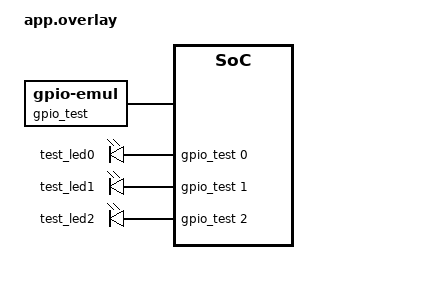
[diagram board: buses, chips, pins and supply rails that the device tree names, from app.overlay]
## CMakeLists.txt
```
cmake_minimum_required(VERSION 3.28.0)

# usa o mesmo Kconfig da aplicacao (BLINK_*_MS)
set(KCONFIG_ROOT ${CMAKE_CURRENT_SOURCE_DIR}/../../Kconfig)

find_package(Zephyr REQUIRED HINTS $ENV{ZEPHYR_BASE})
project(led_unit)

target_sources(app PRIVATE
	src/main.c
	../../src/led.c
)

target_include_directories(app PRIVATE ../../src)
```

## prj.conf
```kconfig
CONFIG_ZTEST=y
CONFIG_GPIO=y
CONFIG_GPIO_EMUL=y
CONFIG_LOG=y

# periodos curtos para o teste rodar rapido
CONFIG_BLINK_SLOW_MS=200
CONFIG_BLINK_NORMAL_MS=80
CONFIG_BLINK_FAST_MS=20
```

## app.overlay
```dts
/* Controlador GPIO emulado proprio do teste, com init adiado para testar o
 * caso de controlador nao pronto. Os LEDs ficam nele e os aliases apontam
 * para eles. */

#include <zephyr/dt-bindings/gpio/gpio.h>

/ {
	gpio_test: gpio_test {
		compatible = "zephyr,gpio-emul";
		gpio-controller;
		#gpio-cells = <2>;
		ngpios = <3>;
		zephyr,deferred-init;
		status = "okay";
	};

	test_leds {
		compatible = "gpio-leds";

		test_led0: test_led_0 {
			gpios = <&gpio_test 0 GPIO_ACTIVE_HIGH>;
		};

		test_led1: test_led_1 {
			gpios = <&gpio_test 1 GPIO_ACTIVE_HIGH>;
		};

		test_led2: test_led_2 {
			gpios = <&gpio_test 2 GPIO_ACTIVE_HIGH>;
		};
	};

	aliases {
		led0 = &test_led0;
		led1 = &test_led1;
		led2 = &test_led2;
	};
};
```

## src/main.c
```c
/*******************************************************************
 * @file main.c
 *
 * @brief Testes do modulo de LEDs.
 * @author Erick Mascarenhas (edlm@ic.ufal.br)
 * @version 0.1
 * @date 21/10/2026
 *******************************************************************/

#include <errno.h>
#include <stdbool.h>

#include <zephyr/device.h>
#include <zephyr/drivers/gpio.h>
#include <zephyr/drivers/gpio/gpio_emul.h>
#include <zephyr/kernel.h>
#include <zephyr/ztest.h>

#include "led.h"

static const struct gpio_dt_spec spec[] = {
	GPIO_DT_SPEC_GET(DT_ALIAS(led0), gpios),
	GPIO_DT_SPEC_GET(DT_ALIAS(led1), gpios),
	GPIO_DT_SPEC_GET(DT_ALIAS(led2), gpios),
};

static const struct device *const ctrl = DEVICE_DT_GET(DT_NODELABEL(gpio_test));

/* nivel do pino lido no controlador emulado */
static int level(size_t led)
{
	return gpio_emul_output_get(spec[led].port, spec[led].pin);
}

/* true se o LED foi visto aceso e apagado dentro da janela */
static bool seen_on_and_off(size_t led, int64_t window_ms)
{
	int64_t end = k_uptime_get() + window_ms;
	bool on = false;
	bool off = false;

	while ((k_uptime_get() < end) && !(on && off)) {
		k_msleep(1);
		if (level(led) == 1) {
			on = true;
		} else {
			off = true;
		}
	}

	return on && off;
}

/* conta as trocas de nivel do led0 e do led1 dentro da janela */
static void count_transitions(int64_t window_ms, int *fast, int *slow)
{
	int64_t end = k_uptime_get() + window_ms;
	int prev0 = level(0);
	int prev1 = level(1);

	*fast = 0;
	*slow = 0;

	while (k_uptime_get() < end) {
		int now0;
		int now1;

		k_msleep(1);
		now0 = level(0);
		now1 = level(1);

		if (now0 != prev0) {
			(*fast)++;
			prev0 = now0;
		}

		if (now1 != prev1) {
			(*slow)++;
			prev1 = now1;
		}
	}
}

static void before_each(void *fixture)
{
	ARG_UNUSED(fixture);

	/* o teste 00 precisa do controlador ainda sem init */
	if (!device_is_ready(ctrl)) {
		return;
	}

	zassert_ok(led_init());
}

ZTEST_SUITE(led_mod, NULL, NULL, before_each, NULL, NULL);

ZTEST(led_mod, test_00_init_falha_com_controlador_nao_pronto)
{
	if (device_is_ready(ctrl)) {
		ztest_test_skip();
	}

	zassert_equal(led_init(), -ENODEV);

	zassert_equal(led_on(0U), -ENODEV);

	zassert_ok(device_init(ctrl));
	zassert_true(device_is_ready(ctrl));
}

ZTEST(led_mod, test_01_init_deixa_todos_apagados)
{
	size_t i;

	zassert_equal(led_count(), ARRAY_SIZE(spec));

	for (i = 0U; i < led_count(); i++) {
		zassert_equal(level(i), 0, "LED %zu nao comecou apagado", i);
	}
}

ZTEST(led_mod, test_02_ligar_desligar_e_alternar_mudam_o_pino)
{
	zassert_ok(led_on(0U));
	zassert_equal(level(0), 1);

	zassert_ok(led_off(0U));
	zassert_equal(level(0), 0);

	zassert_ok(led_toggle(0U));
	zassert_equal(level(0), 1);

	zassert_ok(led_toggle(0U));
	zassert_equal(level(0), 0);
}

ZTEST(led_mod, test_03_piscar_acende_e_apaga)
{
	zassert_ok(led_blink(0U, LED_PATTERN_FAST));
	zassert_true(seen_on_and_off(0U, CONFIG_BLINK_FAST_MS * 6), "nao piscou");
}

ZTEST(led_mod, test_04_rapido_troca_mais_que_lento)
{
	int fast;
	int slow;

	zassert_ok(led_blink(0U, LED_PATTERN_FAST));
	zassert_ok(led_blink(1U, LED_PATTERN_SLOW));

	count_transitions(CONFIG_BLINK_SLOW_MS * 3, &fast, &slow);

	zassert_true(slow > 0, "o lento nem trocou");
	zassert_true(fast > slow, "rapido=%d lento=%d", fast, slow);
}

ZTEST(led_mod, test_05_ligar_desligar_e_alternar_cancelam_o_pisca)
{
	zassert_ok(led_blink(0U, LED_PATTERN_FAST));
	zassert_ok(led_on(0U));
	k_msleep(CONFIG_BLINK_FAST_MS * 5);
	zassert_equal(level(0), 1, "led_on nao cancelou o pisca");

	zassert_ok(led_blink(0U, LED_PATTERN_FAST));
	zassert_ok(led_off(0U));
	k_msleep(CONFIG_BLINK_FAST_MS * 5);
	zassert_equal(level(0), 0, "led_off nao cancelou o pisca");

	zassert_ok(led_blink(0U, LED_PATTERN_FAST));
	zassert_ok(led_toggle(0U));
	{
		int fixed = level(0);

		k_msleep(CONFIG_BLINK_FAST_MS * 5);
		zassert_equal(level(0), fixed, "led_toggle nao cancelou o pisca");
	}
}

ZTEST(led_mod, test_06_acao_em_todos_afeta_todos)
{
	size_t i;

	zassert_ok(led_on(LED_ALL));
	for (i = 0U; i < led_count(); i++) {
		zassert_equal(level(i), 1, "LED %zu nao acendeu", i);
	}

	zassert_ok(led_off(LED_ALL));
	for (i = 0U; i < led_count(); i++) {
		zassert_equal(level(i), 0, "LED %zu nao apagou", i);
	}

	zassert_ok(led_blink(LED_ALL, LED_PATTERN_FAST));
	for (i = 0U; i < led_count(); i++) {
		zassert_true(seen_on_and_off(i, CONFIG_BLINK_FAST_MS * 6), "LED %zu nao piscou", i);
	}
}

ZTEST(led_mod, test_07_argumentos_invalidos_retornam_erro)
{
	zassert_equal(led_on(led_count()), -EINVAL);
	zassert_equal(led_off(led_count()), -EINVAL);
	zassert_equal(led_toggle(led_count()), -EINVAL);
	zassert_equal(led_blink(led_count(), LED_PATTERN_FAST), -EINVAL);
	zassert_equal(led_blink(0U, LED_PATTERN_COUNT), -EINVAL);
}

ZTEST(led_mod, test_08_mexer_num_led_nao_altera_o_outro)
{
	zassert_ok(led_blink(1U, LED_PATTERN_FAST));

	zassert_ok(led_on(0U));
	zassert_ok(led_off(0U));
	zassert_ok(led_blink(0U, LED_PATTERN_SLOW));

	zassert_true(seen_on_and_off(1U, CONFIG_BLINK_FAST_MS * 6), "LED 1 parou de piscar");
}

ZTEST(led_mod, test_09_reinicializar_nao_corrompe_o_timer)
{
	zassert_ok(led_blink(0U, LED_PATTERN_FAST));
	k_msleep(CONFIG_BLINK_FAST_MS * 2);

	zassert_ok(led_init());
	zassert_equal(level(0), 0);

	k_msleep(CONFIG_BLINK_FAST_MS * 5);
	zassert_equal(level(0), 0, "pisca sobreviveu ao reinit");

	zassert_ok(led_blink(2U, LED_PATTERN_FAST));
	zassert_true(seen_on_and_off(2U, CONFIG_BLINK_FAST_MS * 6), "timer nao voltou");
}
```

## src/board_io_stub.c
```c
/*******************************************************************
 * @file board_io_stub.c
 *
 * @brief Stub de board_io para testar o despacho sem GPIO.
 * @author Erick Mascarenhas (edlm@ic.ufal.br)
 * @version 0.1
 * @date 21/10/2026
 *******************************************************************/

#include <errno.h>
#include <stdbool.h>

#include "board_io.h"
#include "board_io_stub.h"

static bool led_is_on;
static int button_state;
static bool should_fail;

void board_io_stub_reset(void)
{
	led_is_on = false;
	button_state = 0;
	should_fail = false;
}

void board_io_stub_set_button(int state)
{
	button_state = state;
}

void board_io_stub_fail(bool fail)
{
	should_fail = fail;
}

int board_io_init(void)
{
	board_io_stub_reset();

	return 0;
}

int board_io_led_set(bool on)
{
	if (should_fail) {
		return -EIO;
	}

	led_is_on = on;

	return 0;
}

bool board_io_led_get(void)
{
	return led_is_on;
}

int board_io_button_get(void)
{
	return should_fail ? -EIO : button_state;
}
```

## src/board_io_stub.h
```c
/*******************************************************************
 * @file board_io_stub.h
 *
 * @brief Controle do stub de board_io usado nos testes.
 * @author Erick Mascarenhas (edlm@ic.ufal.br)
 * @version 0.1
 * @date 21/10/2026
 *******************************************************************/

#ifndef BOARD_IO_STUB_H_
#define BOARD_IO_STUB_H_

#include <stdbool.h>

void board_io_stub_reset(void);
void board_io_stub_set_button(int state);
void board_io_stub_fail(bool fail);

#endif /* BOARD_IO_STUB_H_ */
```
